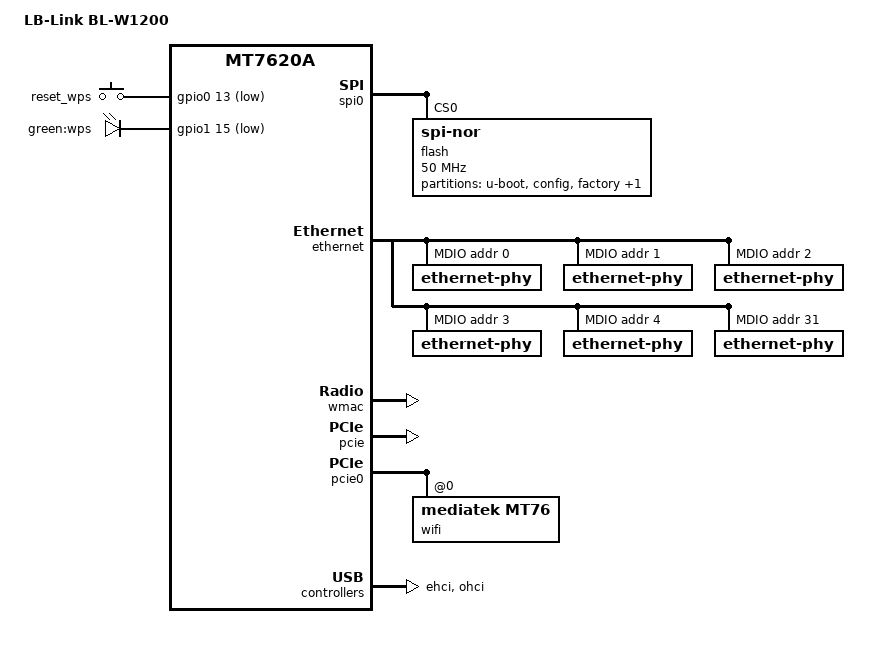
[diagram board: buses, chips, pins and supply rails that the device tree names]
// SPDX-License-Identifier: GPL-2.0-only

#include "mt7620a.dtsi"

#include <dt-bindings/gpio/gpio.h>
#include <dt-bindings/input/input.h>

/ {
	compatible = "lb-link,bl-w1200", "ralink,mt7620a-soc";
	model = "LB-Link BL-W1200";

	aliases {
		led-boot = &led_wps;
		led-failsafe = &led_wps;
		led-upgrade = &led_wps;
	};

	keys {
		compatible = "gpio-keys";

		reset_wps {
			label = "reset_wps";
			gpios = <&gpio0 13 GPIO_ACTIVE_LOW>;
			linux,code = <KEY_RESTART>;
		};
	};

	leds {
		compatible = "gpio-leds";

		led_wps: wps {
			label = "green:wps";
			gpios = <&gpio1 15 GPIO_ACTIVE_LOW>;
		};
	};
};

&gpio1 {
	status = "okay";
};

&spi0 {
	status = "okay";

	flash@0 {
		compatible = "jedec,spi-nor";
		reg = <0>;
		spi-max-frequency = <50000000>;

		partitions {
			compatible = "fixed-partitions";
			#address-cells = <1>;
			#size-cells = <1>;

			partition@0 {
				label = "u-boot";
				reg = <0x0 0x30000>;
				read-only;
			};

			partition@30000 {
				label = "config";
				reg = <0x30000 0x10000>;
				read-only;
			};

			factory: partition@40000 {
				label = "factory";
				reg = <0x40000 0x10000>;
				read-only;
			};

			partition@50000 {
				compatible = "denx,uimage";
				label = "firmware";
				reg = <0x50000 0x7b0000>;
			};
		};
	};
};

&state_default {
	gpio {
		groups = "uartf", "spi refclk";
		function = "gpio";
	};
};

&ethernet {
	pinctrl-names = "default";
	pinctrl-0 = <&rgmii2_pins &mdio_pins>;

	mtd-mac-address = <&factory 0x28>;

	mediatek,portmap = "wllll";

	port@5 {
		status = "okay";
		mediatek,fixed-link = <1000 1 1 1>;
		phy-mode = "rgmii";
	};

	mdio-bus {
		status = "okay";

		ethernet-phy@0 {
			reg = <0>;
			phy-mode = "rgmii";
		};

		ethernet-phy@1 {
			reg = <1>;
			phy-mode = "rgmii";
		};

		ethernet-phy@2 {
			reg = <2>;
			phy-mode = "rgmii";
		};

		ethernet-phy@3 {
			reg = <3>;
			phy-mode = "rgmii";
		};

		ethernet-phy@4 {
			reg = <4>;
			phy-mode = "rgmii";
		};

		ethernet-phy@1f {
			reg = <0x1f>;
			phy-mode = "rgmii";
		};
	};
};

&wmac {
	ralink,mtd-eeprom = <&factory 0x0>;
};

&pcie {
	status = "okay";
};

&pcie0 {
	wifi@0,0 {
		compatible = "mediatek,mt76";
		reg = <0x0000 0 0 0 0>;
		ieee80211-freq-limit = <5000000 6000000>;
		mediatek,mtd-eeprom = <&factory 0x8000>;

		led {
			led-sources = <2>;
			led-active-low;
		};
	};
};

&ehci {
	status = "okay";
};

&ohci {
	status = "okay";
};
